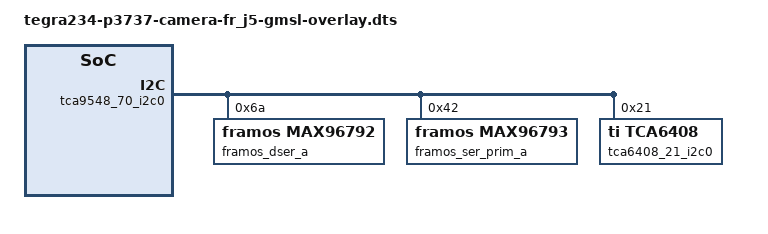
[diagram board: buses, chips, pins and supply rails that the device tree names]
// SPDX-License-Identifier: GPL-2.0
/*
 * Copyright (c) 2024 Framos. All rights reserved.
 *
 * tegra234-p3737-camera-fr_j5-gmsl-overlay.dts
 */

/dts-v1/;
/plugin/;

#include <dt-bindings/clock/tegra234-clock.h>
#include <dt-bindings/gpio/tegra234-gpio.h>
#include <dt-bindings/tegra234-p3737-0000+p3701-0000.h>


/ {
	overlay-name = "Framos GMSL-J5";
	jetson-header-name = "Jetson AGX CSI Connector";
	compatible = JETSON_COMPATIBLE;

	fragment@0 {
		target = <&tca9548_70_i2c0>;
		__overlay__ {
			framos_dser_a: max96792_a@6a {
				compatible = "framos,max96792";
				reg = <0x6a>;
				csi-mode = "2x4";
				max-src = <1>;
			};
			framos_ser_prim_a: max96793_prim_a@42 {
				compatible = "framos,max96793";
				reg = <0x42>;
				nvidia,gmsl-dser-device = <&framos_dser_a>;
				is-prim-ser;
			};
		};
	};

	fragment@1 {
		target = <&sensor_a>;
		__overlay__ {
			nvidia,gmsl-ser-device = <&framos_ser_prim_a>;
			nvidia,gmsl-dser-device = <&framos_dser_a>;
			gmsl-link {
				src-csi-port = "b";
				dst-csi-port = "a";
				serdes-csi-link = "a";
				csi-mode = "1x4";
				st-vc = <0>;
				vc-id = <0>;
				streams = "raw12";
			};
		};
	};

	fragment@2 {
		target = <&tca9548_70_i2c0>;
		__overlay__ {
			tca6408_21_i2c0: tca6408@21 {
				compatible = "ti,tca6408";
				gpio-controller;
				#gpio-cells = <2>;
				reg = <0x21>;
				status = "okay";
				gpio-line-names = "", "", "J5-tca6408_21_i2c0_cresetb";
			};
		};
	};
};
